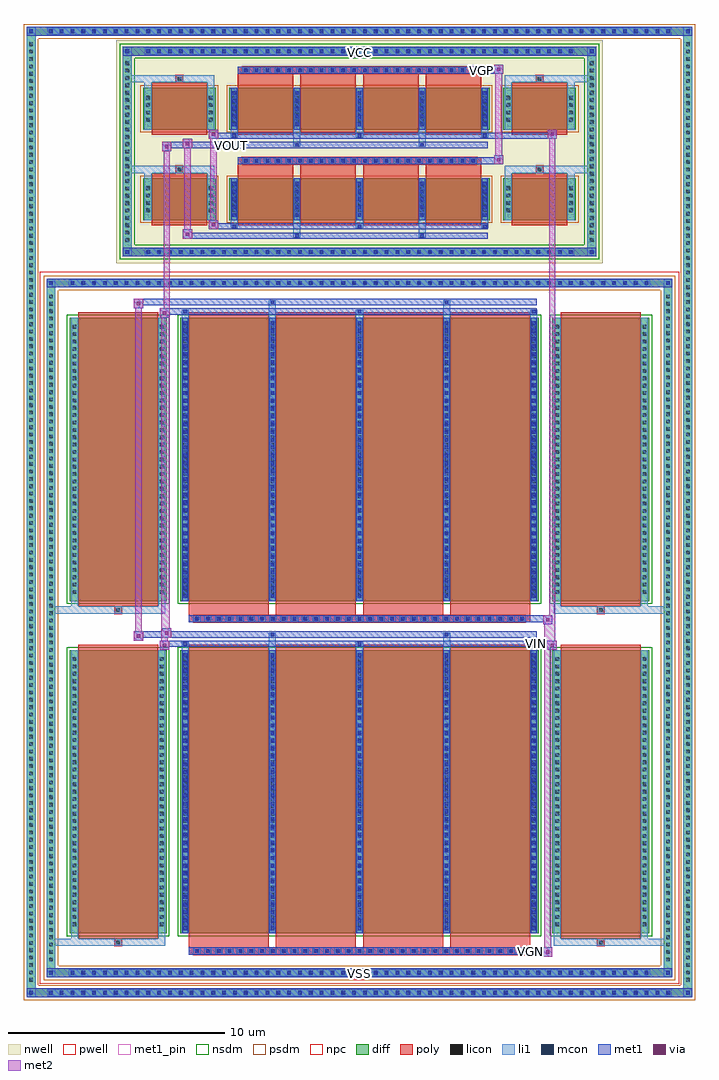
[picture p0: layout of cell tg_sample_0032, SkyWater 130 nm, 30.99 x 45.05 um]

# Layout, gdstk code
import gdstk
lib = gdstk.Library(unit=1e-6, precision=5e-09)
def R(c, l, rs):  # rectangles x0, y0, x1, y1
    for r in rs: c.add(gdstk.rectangle(r[:2], r[2:], *l))
def A(c, l, x, y, w, h, nx, ny, dx, dy):  # array of equal rectangles
    R(c, l, [(x+i*dx, y+j*dy, x+i*dx+w, y+j*dy+h) for i in range(nx) for j in range(ny)])
def P(c, l, *ps):  # polygons
    for p in ps: c.add(gdstk.Polygon(p, *l))
nwell = (64, 20)
pwell = (64, 44)
diff = (65, 20)
poly = (66, 20)
licon = (66, 44)
li1 = (67, 20)
mcon = (67, 44)
met1_pin = (68, 16)
met1 = (68, 20)
via = (68, 44)
met2 = (69, 20)
nsdm = (93, 44)
psdm = (94, 20)
npc = (95, 20)

tg_sample_0032 = lib.new_cell('tg_sample_0032')
R(tg_sample_0032, nwell, [(-11.235,16.835,11.235,27.135)])
R(tg_sample_0032, pwell, [(-14.755,-16.435,14.755,16.435)])
A(tg_sample_0032, diff, -14.455, -17.045, 0.41, 0.41, 58, 2, 0.5, 44.38)
A(tg_sample_0032, diff, -15.365, -16.445, 0.41, 0.41, 1, 128, 0, 0.34)
A(tg_sample_0032, diff, 14.955, -16.445, 0.41, 0.41, 1, 128, 0, 0.34)
A(tg_sample_0032, diff, -13.455, -16.125, 0.41, 0.41, 54, 2, 0.5, 31.84)
A(tg_sample_0032, diff, -14.445, -15.505, 0.41, 0.41, 1, 91, 0, 0.34)
A(tg_sample_0032, diff, 14.035, -15.505, 0.41, 0.41, 1, 91, 0, 0.34)
A(tg_sample_0032, diff, -9.955, 17.145, 0.41, 0.41, 40, 2, 0.5, 9.27)
A(tg_sample_0032, diff, -10.925, 17.7, 0.41, 0.41, 1, 25, 0, 0.34)
A(tg_sample_0032, diff, 10.515, 17.7, 0.41, 0.41, 1, 25, 0, 0.34)
R(tg_sample_0032, diff, [(-14.455,-17.045,14.455,-16.635), (-15.365,-16.445,-14.955,27.145), (14.955,-16.445,15.365,27.145), (-13.455,-16.125,13.455,-15.715), (-14.445,-15.505,-14.035,15.505), (14.035,-15.505,14.445,15.505), (-13.375,-14.1,-8.905,-1.02), (-8.265,-14.1,8.265,-1.02), (8.905,-14.1,13.375,-1.02), (-13.375,1.24,-8.905,14.32), (-8.265,1.24,8.265,14.32), (8.905,1.24,13.375,14.32), (-13.455,15.715,13.455,16.125), (-9.955,17.145,9.955,17.555), (-10.925,17.7,-10.515,26.27), (10.515,17.7,10.925,26.27), (-9.985,18.825,-6.645,20.745), (-6.005,18.825,6.005,20.745), (6.645,18.825,9.985,20.745), (-9.985,23.005,-6.645,24.925), (-6.005,23.005,6.005,24.925), (6.645,23.005,9.985,24.925), (-9.955,26.415,9.955,26.825), (-14.455,27.335,14.455,27.745)])
P(tg_sample_0032, diff, [(14.445,16.125),(-14.445,16.125),(-14.445,-15.715),(-14.035,-15.715),(-14.035,15.715),(14.035,15.715),(14.035,-15.715),(-14.035,-15.715),(-14.445,-15.715),(-14.445,-16.125),(14.445,-16.125)],
  [(15.365,27.745),(-15.365,27.745),(-15.365,-16.635),(-14.955,-16.635),(-14.955,27.335),(14.955,27.335),(14.955,-16.635),(-14.955,-16.635),(-15.365,-16.635),(-15.365,-17.045),(15.365,-17.045)],
  [(10.925,17.145),(-10.925,17.145),(-10.925,26.415),(-10.515,26.415),(-10.515,17.555),(10.515,17.555),(10.515,26.415),(-10.515,26.415),(-10.925,26.415),(-10.925,26.825),(10.925,26.825)])
A(tg_sample_0032, poly, -7.665, -15.08, 0.33, 0.33, 31, 2, 0.5, 15.34)
A(tg_sample_0032, poly, -7.875, -14.75, 3.69, 0.4, 4, 2, 4.02, 15.34)
A(tg_sample_0032, poly, -7.875, -14.35, 3.69, 13.58, 4, 2, 4.02, 15.34)
A(tg_sample_0032, poly, -5.615, 18.575, 2.56, 2.42, 4, 2, 2.89, 4.18)
A(tg_sample_0032, poly, -5.615, 20.995, 2.56, 0.4, 4, 2, 2.89, 4.18)
A(tg_sample_0032, poly, -5.415, 21.395, 0.33, 0.33, 22, 2, 0.5, 4.18)
R(tg_sample_0032, poly, [(-7.875,-15.08,7.875,-14.75), (-11.305,-14.68,-10.975,-14.35), (-11.305,-14.68,-10.975,-14.35), (10.975,-14.68,11.305,-14.35), (10.975,-14.68,11.305,-14.35), (-12.985,-14.35,-9.295,-0.77), (9.295,-14.35,12.985,-0.77), (-7.875,0.26,7.875,0.59), (-11.305,0.66,-10.975,0.99), (-11.305,0.66,-10.975,0.99), (10.975,0.66,11.305,0.99), (10.975,0.66,11.305,0.99), (-12.985,0.99,-9.295,14.57), (9.295,0.99,12.985,14.57), (-9.595,18.575,-7.035,20.995), (7.035,18.575,9.595,20.995), (-8.48,20.995,-8.15,21.325), (-8.48,20.995,-8.15,21.325), (8.15,20.995,8.48,21.325), (8.15,20.995,8.48,21.325), (-5.615,21.395,5.615,21.725), (-9.595,22.755,-7.035,25.175), (7.035,22.755,9.595,25.175), (-8.48,25.175,-8.15,25.505), (-8.48,25.175,-8.15,25.505), (8.15,25.175,8.48,25.505), (8.15,25.175,8.48,25.505), (-5.615,25.575,5.615,25.905)])
A(tg_sample_0032, licon, -14.335, -16.925, 0.17, 0.17, 58, 2, 0.5, 44.38)
A(tg_sample_0032, licon, -15.245, -16.325, 0.17, 0.17, 1, 128, 0, 0.34)
A(tg_sample_0032, licon, 15.075, -16.325, 0.17, 0.17, 1, 128, 0, 0.34)
A(tg_sample_0032, licon, -13.335, -16.005, 0.17, 0.17, 54, 2, 0.5, 31.84)
A(tg_sample_0032, licon, -14.325, -15.385, 0.17, 0.17, 1, 91, 0, 0.34)
A(tg_sample_0032, licon, 14.155, -15.385, 0.17, 0.17, 1, 91, 0, 0.34)
A(tg_sample_0032, licon, -7.585, -15, 0.17, 0.17, 31, 2, 0.5, 15.34)
A(tg_sample_0032, licon, -13.235, -13.765, 0.17, 0.17, 1, 37, 0, 0.34)
A(tg_sample_0032, licon, -9.215, -13.765, 0.17, 0.17, 1, 37, 0, 0.34)
A(tg_sample_0032, licon, -8.125, -13.765, 0.17, 0.17, 5, 37, 4.02, 0.34)
A(tg_sample_0032, licon, 9.045, -13.765, 0.17, 0.17, 1, 37, 0, 0.34)
A(tg_sample_0032, licon, 13.065, -13.765, 0.17, 0.17, 1, 37, 0, 0.34)
A(tg_sample_0032, licon, -13.235, 1.575, 0.17, 0.17, 1, 37, 0, 0.34)
A(tg_sample_0032, licon, -9.215, 1.575, 0.17, 0.17, 1, 37, 0, 0.34)
A(tg_sample_0032, licon, -8.125, 1.575, 0.17, 0.17, 5, 37, 4.02, 0.34)
A(tg_sample_0032, licon, 9.045, 1.575, 0.17, 0.17, 1, 37, 0, 0.34)
A(tg_sample_0032, licon, 13.065, 1.575, 0.17, 0.17, 1, 37, 0, 0.34)
A(tg_sample_0032, licon, -9.835, 17.265, 0.17, 0.17, 40, 2, 0.5, 9.27)
A(tg_sample_0032, licon, -10.805, 17.82, 0.17, 0.17, 1, 25, 0, 0.34)
A(tg_sample_0032, licon, 10.635, 17.82, 0.17, 0.17, 1, 25, 0, 0.34)
A(tg_sample_0032, licon, -9.845, 19.19, 0.17, 0.17, 1, 4, 0, 0.34)
A(tg_sample_0032, licon, -6.955, 19.19, 0.17, 0.17, 1, 4, 0, 0.34)
A(tg_sample_0032, licon, -5.865, 19.19, 0.17, 0.17, 5, 4, 2.89, 0.34)
A(tg_sample_0032, licon, 6.785, 19.19, 0.17, 0.17, 1, 4, 0, 0.34)
A(tg_sample_0032, licon, 9.675, 19.19, 0.17, 0.17, 1, 4, 0, 0.34)
A(tg_sample_0032, licon, -5.335, 21.475, 0.17, 0.17, 22, 2, 0.5, 4.18)
A(tg_sample_0032, licon, -9.845, 23.37, 0.17, 0.17, 1, 4, 0, 0.34)
A(tg_sample_0032, licon, -6.955, 23.37, 0.17, 0.17, 1, 4, 0, 0.34)
A(tg_sample_0032, licon, -5.865, 23.37, 0.17, 0.17, 5, 4, 2.89, 0.34)
A(tg_sample_0032, licon, 6.785, 23.37, 0.17, 0.17, 1, 4, 0, 0.34)
A(tg_sample_0032, licon, 9.675, 23.37, 0.17, 0.17, 1, 4, 0, 0.34)
R(tg_sample_0032, licon, [(-11.225,-14.6,-11.055,-14.43), (11.055,-14.6,11.225,-14.43), (-11.225,0.74,-11.055,0.91), (11.055,0.74,11.225,0.91), (-8.4,21.075,-8.23,21.245), (8.23,21.075,8.4,21.245), (-8.4,25.255,-8.23,25.425), (8.23,25.255,8.4,25.425)])
A(tg_sample_0032, li1, -14.415, -17.005, 0.33, 0.33, 58, 2, 0.5, 44.38)
A(tg_sample_0032, li1, -15.325, -16.405, 0.33, 0.33, 1, 128, 0, 0.34)
A(tg_sample_0032, li1, 14.995, -16.405, 0.33, 0.33, 1, 128, 0, 0.34)
A(tg_sample_0032, li1, -13.415, -16.085, 0.33, 0.33, 54, 2, 0.5, 31.84)
A(tg_sample_0032, li1, -14.405, -15.465, 0.33, 0.33, 1, 91, 0, 0.34)
A(tg_sample_0032, li1, 14.075, -15.465, 0.33, 0.33, 1, 91, 0, 0.34)
A(tg_sample_0032, li1, -7.665, -15.08, 0.33, 0.33, 31, 2, 0.5, 15.34)
A(tg_sample_0032, li1, -8.205, -14.1, 0.33, 13.08, 5, 2, 4.02, 15.34)
A(tg_sample_0032, li1, -8.125, -13.945, 0.17, 0.17, 5, 36, 4.02, 0.36)
A(tg_sample_0032, li1, -8.125, -13.945, 0.17, 12.77, 5, 2, 4.02, 15.34)
A(tg_sample_0032, li1, -13.315, -13.845, 0.33, 0.33, 1, 37, 0, 0.34)
A(tg_sample_0032, li1, -9.295, -13.845, 0.33, 0.33, 1, 37, 0, 0.34)
A(tg_sample_0032, li1, -8.205, -13.845, 0.33, 0.33, 5, 37, 4.02, 0.34)
A(tg_sample_0032, li1, 8.965, -13.845, 0.33, 0.33, 1, 37, 0, 0.34)
A(tg_sample_0032, li1, 12.985, -13.845, 0.33, 0.33, 1, 37, 0, 0.34)
A(tg_sample_0032, li1, -8.205, -1.02, 0.33, 0.375, 3, 2, 8.04, 15.34)
A(tg_sample_0032, li1, -8.125, -0.815, 0.17, 0.17, 3, 2, 8.04, 15.34)
A(tg_sample_0032, li1, -8.125, 1.395, 0.17, 0.17, 5, 36, 4.02, 0.36)
A(tg_sample_0032, li1, -13.315, 1.495, 0.33, 0.33, 1, 37, 0, 0.34)
A(tg_sample_0032, li1, -9.295, 1.495, 0.33, 0.33, 1, 37, 0, 0.34)
A(tg_sample_0032, li1, -8.205, 1.495, 0.33, 0.33, 5, 37, 4.02, 0.34)
A(tg_sample_0032, li1, 8.965, 1.495, 0.33, 0.33, 1, 37, 0, 0.34)
A(tg_sample_0032, li1, 12.985, 1.495, 0.33, 0.33, 1, 37, 0, 0.34)
A(tg_sample_0032, li1, -9.915, 17.185, 0.33, 0.33, 40, 2, 0.5, 9.27)
A(tg_sample_0032, li1, -10.885, 17.74, 0.33, 0.33, 1, 25, 0, 0.34)
A(tg_sample_0032, li1, 10.555, 17.74, 0.33, 0.33, 1, 25, 0, 0.34)
A(tg_sample_0032, li1, -5.945, 18.45, 0.33, 0.375, 3, 2, 5.78, 4.18)
A(tg_sample_0032, li1, -5.865, 18.45, 0.17, 0.17, 3, 2, 5.78, 4.18)
A(tg_sample_0032, li1, -5.945, 18.825, 0.33, 1.92, 5, 2, 2.89, 4.18)
A(tg_sample_0032, li1, -5.865, 18.98, 0.17, 0.17, 5, 5, 2.89, 0.36)
A(tg_sample_0032, li1, -5.865, 18.98, 0.17, 1.61, 5, 2, 2.89, 4.18)
A(tg_sample_0032, li1, -9.925, 19.11, 0.33, 0.33, 1, 4, 0, 0.34)
A(tg_sample_0032, li1, -7.035, 19.11, 0.33, 0.33, 1, 4, 0, 0.34)
A(tg_sample_0032, li1, -5.945, 19.11, 0.33, 0.33, 5, 4, 2.89, 0.34)
A(tg_sample_0032, li1, 6.705, 19.11, 0.33, 0.33, 1, 4, 0, 0.34)
A(tg_sample_0032, li1, 9.595, 19.11, 0.33, 0.33, 1, 4, 0, 0.34)
A(tg_sample_0032, li1, -5.415, 21.395, 0.33, 0.33, 22, 2, 0.5, 4.18)
A(tg_sample_0032, li1, -5.865, 23.16, 0.17, 0.17, 5, 5, 2.89, 0.36)
A(tg_sample_0032, li1, -9.925, 23.29, 0.33, 0.33, 1, 4, 0, 0.34)
A(tg_sample_0032, li1, -7.035, 23.29, 0.33, 0.33, 1, 4, 0, 0.34)
A(tg_sample_0032, li1, -5.945, 23.29, 0.33, 0.33, 5, 4, 2.89, 0.34)
A(tg_sample_0032, li1, 6.705, 23.29, 0.33, 0.33, 1, 4, 0, 0.34)
A(tg_sample_0032, li1, 9.595, 23.29, 0.33, 0.33, 1, 4, 0, 0.34)
R(tg_sample_0032, li1, [(-15.365,-17.045,-14.955,-16.635), (14.955,-17.045,15.365,-16.635), (-14.415,-17.005,14.415,-16.675), (-15.245,-16.925,-15.075,-16.755), (-15.245,-16.925,-15.075,-16.755), (15.075,-16.925,15.245,-16.755), (15.075,-16.925,15.245,-16.755), (-15.365,-16.635,-14.955,27.335), (14.955,-16.635,15.365,27.335), (-14.445,-16.125,-14.035,-15.715), (14.035,-16.125,14.445,-15.715), (-13.415,-16.085,13.415,-15.755), (-14.325,-16.005,-14.155,-15.835), (-14.325,-16.005,-14.155,-15.835), (14.155,-16.005,14.325,-15.835), (14.155,-16.005,14.325,-15.835), (-14.445,-15.715,-14.035,15.715), (14.035,-15.715,14.445,15.715), (-14.445,-14.68,-11.305,-14.35), (-13.315,-14.68,-11.305,-14.35), (-13.315,-14.68,-12.985,-14.1), (-11.305,-14.68,-10.975,-14.35), (-10.975,-14.68,-8.965,-14.35), (-9.295,-14.68,-8.965,-14.1), (8.965,-14.68,10.975,-14.35), (8.965,-14.68,9.295,-14.1), (10.975,-14.68,11.305,-14.35), (10.975,-14.68,14.445,-14.35), (11.305,-14.68,13.315,-14.35), (12.985,-14.68,13.315,-14.1), (-13.315,-14.1,-12.985,-1.02), (-9.295,-14.1,-8.965,-1.02), (8.965,-14.1,9.295,-1.02), (12.985,-14.1,13.315,-1.02), (-4.185,-1.02,-3.855,-0.215), (3.855,-1.02,4.185,-0.215), (-4.105,-0.385,-3.935,-0.215), (3.935,-0.385,4.105,-0.215), (-14.445,0.66,-11.305,0.99), (-13.315,0.66,-11.305,0.99), (-13.315,0.66,-12.985,1.24), (-11.305,0.66,-10.975,0.99), (-10.975,0.66,-8.965,0.99), (-9.295,0.66,-8.965,1.24), (8.965,0.66,10.975,0.99), (8.965,0.66,9.295,1.24), (10.975,0.66,11.305,0.99), (10.975,0.66,14.445,0.99), (11.305,0.66,13.315,0.99), (12.985,0.66,13.315,1.24), (-13.315,1.24,-12.985,14.32), (-9.295,1.24,-8.965,14.32), (8.965,1.24,9.295,14.32), (12.985,1.24,13.315,14.32), (-4.185,14.32,-3.855,15.125), (3.855,14.32,4.185,15.125), (-4.105,14.955,-3.935,15.125), (3.935,14.955,4.105,15.125), (-14.445,15.715,-14.035,16.125), (14.035,15.715,14.445,16.125), (-13.415,15.755,13.415,16.085), (-14.325,15.835,-14.155,16.005), (-14.325,15.835,-14.155,16.005), (14.155,15.835,14.325,16.005), (14.155,15.835,14.325,16.005), (-10.925,17.145,-10.515,17.555), (10.515,17.145,10.925,17.555), (-9.915,17.185,9.915,17.515), (-10.805,17.265,-10.635,17.435), (-10.805,17.265,-10.635,17.435), (10.635,17.265,10.805,17.435), (10.635,17.265,10.805,17.435), (-10.925,17.555,-10.515,26.415), (10.515,17.555,10.925,26.415), (-3.055,18.02,-2.725,18.825), (-2.975,18.02,-2.805,18.19), (2.725,18.02,3.055,18.825), (2.805,18.02,2.975,18.19), (-9.925,18.825,-9.595,20.745), (-7.035,18.825,-6.705,20.745), (6.705,18.825,7.035,20.745), (9.595,18.825,9.925,20.745), (-9.925,20.745,-9.595,21.325), (-7.035,20.745,-6.705,21.325), (6.705,20.745,7.035,21.325), (9.595,20.745,9.925,21.325), (-10.925,20.995,-8.48,21.325), (-9.925,20.995,-8.48,21.325), (-8.48,20.995,-8.15,21.325), (-8.15,20.995,-6.705,21.325), (6.705,20.995,8.15,21.325), (8.15,20.995,8.48,21.325), (8.15,20.995,10.925,21.325), (8.48,20.995,9.925,21.325), (-3.055,22.2,-2.725,23.005), (-2.975,22.2,-2.805,22.37), (2.725,22.2,3.055,23.005), (2.805,22.2,2.975,22.37), (-9.925,23.005,-9.595,24.925), (-7.035,23.005,-6.705,24.925), (6.705,23.005,7.035,24.925), (9.595,23.005,9.925,24.925), (-9.925,24.925,-9.595,25.505), (-7.035,24.925,-6.705,25.505), (6.705,24.925,7.035,25.505), (9.595,24.925,9.925,25.505), (-10.925,25.175,-8.48,25.505), (-9.925,25.175,-8.48,25.505), (-8.48,25.175,-8.15,25.505), (-8.15,25.175,-6.705,25.505), (6.705,25.175,8.15,25.505), (8.15,25.175,8.48,25.505), (8.15,25.175,10.925,25.505), (8.48,25.175,9.925,25.505), (-10.925,26.415,-10.515,26.825), (10.515,26.415,10.925,26.825), (-9.915,26.455,9.915,26.785), (-10.805,26.535,-10.635,26.705), (-10.805,26.535,-10.635,26.705), (10.635,26.535,10.805,26.705), (10.635,26.535,10.805,26.705), (-15.365,27.335,-14.955,27.745), (14.955,27.335,15.365,27.745), (-14.415,27.375,14.415,27.705), (-15.245,27.455,-15.075,27.625), (-15.245,27.455,-15.075,27.625), (15.075,27.455,15.245,27.625), (15.075,27.455,15.245,27.625)])
A(tg_sample_0032, mcon, -14.335, -16.925, 0.17, 0.17, 58, 2, 0.5, 44.38)
A(tg_sample_0032, mcon, -13.335, -16.005, 0.17, 0.17, 54, 2, 0.5, 31.84)
A(tg_sample_0032, mcon, -7.585, -15, 0.17, 0.17, 31, 2, 0.5, 15.34)
A(tg_sample_0032, mcon, -8.125, -13.945, 0.17, 0.17, 5, 36, 4.02, 0.36)
A(tg_sample_0032, mcon, -8.125, -0.815, 0.17, 0.17, 3, 2, 8.04, 15.34)
A(tg_sample_0032, mcon, -8.125, 1.395, 0.17, 0.17, 5, 36, 4.02, 0.36)
A(tg_sample_0032, mcon, -9.835, 17.265, 0.17, 0.17, 40, 2, 0.5, 9.27)
A(tg_sample_0032, mcon, -5.865, 18.45, 0.17, 0.17, 3, 2, 5.78, 4.18)
A(tg_sample_0032, mcon, -5.865, 18.98, 0.17, 0.17, 5, 5, 2.89, 0.36)
A(tg_sample_0032, mcon, -5.335, 21.475, 0.17, 0.17, 22, 2, 0.5, 4.18)
A(tg_sample_0032, mcon, -5.865, 23.16, 0.17, 0.17, 5, 5, 2.89, 0.36)
R(tg_sample_0032, mcon, [(-15.245,-16.925,-15.075,-16.755), (15.075,-16.925,15.245,-16.755), (-14.325,-16.005,-14.155,-15.835), (14.155,-16.005,14.325,-15.835), (-4.105,-0.385,-3.935,-0.215), (3.935,-0.385,4.105,-0.215), (-4.105,14.955,-3.935,15.125), (3.935,14.955,4.105,15.125), (-14.325,15.835,-14.155,16.005), (14.155,15.835,14.325,16.005), (-10.805,17.265,-10.635,17.435), (10.635,17.265,10.805,17.435), (-2.975,18.02,-2.805,18.19), (2.805,18.02,2.975,18.19), (-2.975,22.2,-2.805,22.37), (2.805,22.2,2.975,22.37), (-10.805,26.535,-10.635,26.705), (10.635,26.535,10.805,26.705), (-15.245,27.455,-15.075,27.625), (15.075,27.455,15.245,27.625)])
R(tg_sample_0032, met1_pin, [(-0.25,-16.215,0.25,-15.715), (7.74,-15.08,8.01,-14.81), (8.05,-0.875,8.32,-0.605), (-6.06,22.14,-5.79,22.41), (5.48,25.575,5.75,25.845), (-0.25,26.325,0.25,26.825)])
A(tg_sample_0032, met1, -14.395, -16.985, 0.29, 0.29, 58, 2, 0.5, 44.38)
A(tg_sample_0032, met1, -13.395, -16.065, 0.29, 0.29, 54, 2, 0.5, 31.84)
A(tg_sample_0032, met1, -7.645, -15.06, 0.29, 0.29, 31, 2, 0.5, 15.34)
A(tg_sample_0032, met1, -8.185, -14.1, 0.29, 13.08, 5, 2, 4.02, 15.34)
A(tg_sample_0032, met1, -8.185, -14.005, 0.29, 0.29, 5, 36, 4.02, 0.36)
A(tg_sample_0032, met1, -8.185, -0.875, 0.29, 0.29, 3, 2, 8.04, 15.34)
A(tg_sample_0032, met1, -8.185, 1.335, 0.29, 0.29, 5, 36, 4.02, 0.36)
A(tg_sample_0032, met1, -9.895, 17.205, 0.29, 0.29, 40, 2, 0.5, 9.27)
A(tg_sample_0032, met1, -5.925, 18.39, 0.29, 0.29, 3, 2, 5.78, 4.18)
A(tg_sample_0032, met1, -5.925, 18.825, 0.29, 1.92, 5, 2, 2.89, 4.18)
A(tg_sample_0032, met1, -5.925, 18.92, 0.29, 0.29, 5, 5, 2.89, 0.36)
A(tg_sample_0032, met1, -5.395, 21.415, 0.29, 0.29, 22, 2, 0.5, 4.18)
A(tg_sample_0032, met1, -5.925, 23.1, 0.29, 0.29, 5, 5, 2.89, 0.36)
R(tg_sample_0032, met1, [(-15.365,-17.045,-14.955,-16.635), (-15.365,-17.045,-14.955,-16.635), (-14.955,-17.045,14.955,-16.635), (14.955,-17.045,15.365,-16.635), (14.955,-17.045,15.365,-16.635), (-15.305,-16.985,-15.015,-16.695), (15.015,-16.985,15.305,-16.695), (-14.445,-16.125,-14.035,-15.715), (-14.445,-16.125,-14.035,-15.715), (-14.035,-16.125,14.035,-15.715), (14.035,-16.125,14.445,-15.715), (14.035,-16.125,14.445,-15.715), (-14.385,-16.065,-14.095,-15.775), (14.095,-16.065,14.385,-15.775), (8.475,-15.18,8.905,-14.75), (-7.875,-15.08,7.875,-14.75), (7.875,-15.08,8.905,-14.75), (-9.215,-1.015,-8.785,-0.585), (8.685,-1.015,9.115,-0.585), (-9.215,-0.875,-8.185,-0.585), (-8.185,-0.875,8.185,-0.585), (8.185,-0.875,9.115,-0.585), (-10.415,-0.585,-9.985,-0.155), (-10.415,-0.445,-8.185,-0.155), (-9.115,-0.445,-8.685,-0.015), (-9.115,-0.445,-8.185,-0.155), (-8.185,-0.445,8.185,-0.155), (-4.165,-0.445,-3.875,-0.155), (3.875,-0.445,4.165,-0.155), (8.475,0.16,8.905,0.59), (-7.875,0.26,7.875,0.59), (7.875,0.26,8.905,0.59), (-9.215,14.325,-8.785,14.755), (-9.215,14.465,-8.185,14.755), (-8.185,14.465,8.185,14.755), (-10.415,14.755,-9.985,15.185), (-10.415,14.895,-8.185,15.185), (-8.185,14.895,8.185,15.185), (-4.165,14.895,-3.875,15.185), (3.875,14.895,4.165,15.185), (-14.445,15.715,-14.035,16.125), (-14.445,15.715,-14.035,16.125), (-14.035,15.715,14.035,16.125), (14.035,15.715,14.445,16.125), (14.035,15.715,14.445,16.125), (-14.385,15.775,-14.095,16.065), (14.095,15.775,14.385,16.065), (-10.925,17.145,-10.515,17.555), (-10.925,17.145,-10.515,17.555), (-10.515,17.145,10.515,17.555), (10.515,17.145,10.925,17.555), (10.515,17.145,10.925,17.555), (-10.865,17.205,-10.575,17.495), (10.575,17.205,10.865,17.495), (-8.155,17.96,-7.725,18.39), (-8.155,17.96,-5.925,18.25), (-5.925,17.96,5.925,18.25), (-3.035,17.96,-2.745,18.25), (2.745,17.96,3.035,18.25), (-6.955,18.39,-6.525,18.82), (-6.955,18.39,-5.925,18.68), (-5.925,18.39,5.925,18.68), (-5.615,21.395,5.615,21.725), (5.615,21.395,6.645,21.725), (6.215,21.395,6.645,21.825), (-9.115,22,-8.685,22.43), (-9.115,22.14,-5.925,22.43), (-8.155,22.14,-7.725,22.57), (-8.155,22.14,-5.925,22.43), (-5.925,22.14,5.925,22.43), (-3.035,22.14,-2.745,22.43), (2.745,22.14,3.035,22.43), (-6.955,22.57,-6.525,23), (-6.955,22.57,-5.925,22.86), (-5.925,22.57,5.925,22.86), (5.925,22.57,9.115,22.86), (8.685,22.57,9.115,23), (-5.615,25.575,5.615,25.905), (5.615,25.575,6.645,25.905), (6.215,25.575,6.645,26.005), (-10.925,26.415,-10.515,26.825), (-10.925,26.415,-10.515,26.825), (-10.515,26.415,10.515,26.825), (10.515,26.415,10.925,26.825), (10.515,26.415,10.925,26.825), (-10.865,26.475,-10.575,26.765), (10.575,26.475,10.865,26.765), (-15.365,27.335,-14.955,27.745), (-15.365,27.335,-14.955,27.745), (-14.955,27.335,14.955,27.745), (14.955,27.335,15.365,27.745), (14.955,27.335,15.365,27.745), (-15.305,27.395,-15.015,27.685), (15.015,27.395,15.305,27.685)])
R(tg_sample_0032, via, [(8.615,-15.04,8.765,-14.89), (-9.075,-0.875,-8.925,-0.725), (8.825,-0.875,8.975,-0.725), (-10.275,-0.445,-10.125,-0.295), (-8.975,-0.305,-8.825,-0.155), (8.615,0.3,8.765,0.45), (-9.075,14.465,-8.925,14.615), (-10.275,14.895,-10.125,15.045), (-8.015,18.1,-7.865,18.25), (-6.815,18.53,-6.665,18.68), (6.355,21.535,6.505,21.685), (-8.975,22.14,-8.825,22.29), (-8.015,22.28,-7.865,22.43), (-6.815,22.71,-6.665,22.86), (8.825,22.71,8.975,22.86), (6.355,25.715,6.505,25.865)])
R(tg_sample_0032, met2, [(8.475,-15.18,8.905,-14.75), (8.525,-15.18,8.855,0.59), (8.855,-15.18,8.905,-14.75), (8.525,-15.13,8.855,-14.8), (-9.215,-1.015,-8.785,-0.585), (-9.145,-1.015,-8.855,14.755), (-8.855,-1.015,-8.785,-0.585), (8.685,-1.015,9.115,-0.585), (8.755,-1.015,9.045,23), (9.045,-1.015,9.115,-0.585), (-9.165,-0.965,-8.835,-0.635), (8.735,-0.965,9.065,-0.635), (-10.415,-0.585,-9.985,-0.155), (-10.345,-0.585,-10.055,15.185), (-10.055,-0.585,-9.985,-0.155), (-10.365,-0.535,-10.035,-0.205), (-9.115,-0.445,-8.685,-0.015), (-9.045,-0.445,-8.755,22.43), (-8.755,-0.445,-8.685,-0.015), (-9.065,-0.395,-8.735,-0.065), (8.475,0.16,8.905,0.59), (8.855,0.16,8.905,0.59), (8.525,0.21,8.855,0.54), (-9.215,14.325,-8.785,14.755), (-8.855,14.325,-8.785,14.755), (-9.165,14.375,-8.835,14.705), (-10.415,14.755,-9.985,15.185), (-10.055,14.755,-9.985,15.185), (-10.365,14.805,-10.035,15.135), (-8.155,17.96,-7.725,18.39), (-8.085,17.96,-7.795,22.57), (-7.795,17.96,-7.725,18.39), (-8.105,18.01,-7.775,18.34), (-6.955,18.39,-6.525,18.82), (-6.885,18.39,-6.595,23), (-6.595,18.39,-6.525,18.82), (-6.905,18.44,-6.575,18.77), (6.215,21.395,6.645,21.825), (6.265,21.395,6.595,26.005), (6.595,21.395,6.645,21.825), (6.265,21.445,6.595,21.775), (-9.115,22,-8.685,22.43), (-8.755,22,-8.685,22.43), (-9.065,22.05,-8.735,22.38), (-8.155,22.14,-7.725,22.57), (-7.795,22.14,-7.725,22.57), (-8.105,22.19,-7.775,22.52), (-6.955,22.57,-6.525,23), (-6.595,22.57,-6.525,23), (8.685,22.57,9.115,23), (9.045,22.57,9.115,23), (-6.905,22.62,-6.575,22.95), (8.735,22.62,9.065,22.95), (6.215,25.575,6.645,26.005), (6.595,25.575,6.645,26.005), (6.265,25.625,6.595,25.955)])
R(tg_sample_0032, nsdm, [(-13.505,-14.23,-8.775,-0.89), (-8.395,-14.23,8.395,-0.89), (8.775,-14.23,13.505,-0.89), (-13.505,1.11,-8.775,14.45), (-8.395,1.11,8.395,14.45), (8.775,1.11,13.505,14.45)])
P(tg_sample_0032, nsdm, [(11.055,17.015),(-11.055,17.015),(-11.055,26.285),(-10.385,26.285),(-10.385,17.685),(10.385,17.685),(10.385,26.285),(-10.385,26.285),(-11.055,26.285),(-11.055,26.955),(11.055,26.955)])
R(tg_sample_0032, psdm, [(-10.115,18.695,-6.515,20.875), (-6.135,18.695,6.135,20.875), (6.515,18.695,10.115,20.875), (-10.115,22.875,-6.515,25.055), (-6.135,22.875,6.135,25.055), (6.515,22.875,10.115,25.055)])
P(tg_sample_0032, psdm, [(14.575,16.255),(-14.575,16.255),(-14.575,-15.585),(-13.905,-15.585),(-13.905,15.585),(13.905,15.585),(13.905,-15.585),(-13.905,-15.585),(-14.575,-15.585),(-14.575,-16.255),(14.575,-16.255)],
  [(15.495,27.875),(-15.495,27.875),(-15.495,-16.505),(-14.825,-16.505),(-14.825,27.205),(14.825,27.205),(14.825,-16.505),(-14.825,-16.505),(-15.495,-16.505),(-15.495,-17.175),(15.495,-17.175)])
A(tg_sample_0032, npc, -7.685, -15.1, 0.37, 0.37, 31, 2, 0.5, 15.34)
A(tg_sample_0032, npc, -5.435, 21.375, 0.37, 0.37, 22, 2, 0.5, 4.18)
R(tg_sample_0032, npc, [(-7.685,-15.1,-6.815,-14.73), (-7.685,-15.1,-6.815,-14.73), (-7.185,-15.1,-6.315,-14.73), (-7.185,-15.1,-6.315,-14.73), (-6.685,-15.1,-5.815,-14.73), (-6.685,-15.1,-5.815,-14.73), (-6.185,-15.1,-5.315,-14.73), (-6.185,-15.1,-5.315,-14.73), (-5.685,-15.1,-4.815,-14.73), (-5.685,-15.1,-4.815,-14.73), (-5.185,-15.1,-4.315,-14.73), (-5.185,-15.1,-4.315,-14.73), (-4.685,-15.1,-3.815,-14.73), (-4.685,-15.1,-3.815,-14.73), (-4.185,-15.1,-3.315,-14.73), (-4.185,-15.1,-3.315,-14.73), (-3.685,-15.1,-2.815,-14.73), (-3.685,-15.1,-2.815,-14.73), (-3.185,-15.1,-2.315,-14.73), (-3.185,-15.1,-2.315,-14.73), (-2.685,-15.1,-1.815,-14.73), (-2.685,-15.1,-1.815,-14.73), (-2.185,-15.1,-1.315,-14.73), (-2.185,-15.1,-1.315,-14.73), (-1.685,-15.1,-0.815,-14.73), (-1.685,-15.1,-0.815,-14.73), (-1.185,-15.1,-0.315,-14.73), (-1.185,-15.1,-0.315,-14.73), (-0.685,-15.1,0.185,-14.73), (-0.685,-15.1,0.185,-14.73), (-0.185,-15.1,0.685,-14.73), (-0.185,-15.1,0.685,-14.73), (0.315,-15.1,1.185,-14.73), (0.315,-15.1,1.185,-14.73), (0.815,-15.1,1.685,-14.73), (0.815,-15.1,1.685,-14.73), (1.315,-15.1,2.185,-14.73), (1.315,-15.1,2.185,-14.73), (1.815,-15.1,2.685,-14.73), (1.815,-15.1,2.685,-14.73), (2.315,-15.1,3.185,-14.73), (2.315,-15.1,3.185,-14.73), (2.815,-15.1,3.685,-14.73), (2.815,-15.1,3.685,-14.73), (3.315,-15.1,4.185,-14.73), (3.315,-15.1,4.185,-14.73), (3.815,-15.1,4.685,-14.73), (3.815,-15.1,4.685,-14.73), (4.315,-15.1,5.185,-14.73), (4.315,-15.1,5.185,-14.73), (4.815,-15.1,5.685,-14.73), (4.815,-15.1,5.685,-14.73), (5.315,-15.1,6.185,-14.73), (5.315,-15.1,6.185,-14.73), (5.815,-15.1,6.685,-14.73), (5.815,-15.1,6.685,-14.73), (6.315,-15.1,7.185,-14.73), (6.315,-15.1,7.185,-14.73), (6.815,-15.1,7.685,-14.73), (6.815,-15.1,7.685,-14.73), (-11.325,-14.7,-10.955,-14.33), (10.955,-14.7,11.325,-14.33), (-7.685,0.24,-6.815,0.61), (-7.685,0.24,-6.815,0.61), (-7.185,0.24,-6.315,0.61), (-7.185,0.24,-6.315,0.61), (-6.685,0.24,-5.815,0.61), (-6.685,0.24,-5.815,0.61), (-6.185,0.24,-5.315,0.61), (-6.185,0.24,-5.315,0.61), (-5.685,0.24,-4.815,0.61), (-5.685,0.24,-4.815,0.61), (-5.185,0.24,-4.315,0.61), (-5.185,0.24,-4.315,0.61), (-4.685,0.24,-3.815,0.61), (-4.685,0.24,-3.815,0.61), (-4.185,0.24,-3.315,0.61), (-4.185,0.24,-3.315,0.61), (-3.685,0.24,-2.815,0.61), (-3.685,0.24,-2.815,0.61), (-3.185,0.24,-2.315,0.61), (-3.185,0.24,-2.315,0.61), (-2.685,0.24,-1.815,0.61), (-2.685,0.24,-1.815,0.61), (-2.185,0.24,-1.315,0.61), (-2.185,0.24,-1.315,0.61), (-1.685,0.24,-0.815,0.61), (-1.685,0.24,-0.815,0.61), (-1.185,0.24,-0.315,0.61), (-1.185,0.24,-0.315,0.61), (-0.685,0.24,0.185,0.61), (-0.685,0.24,0.185,0.61), (-0.185,0.24,0.685,0.61), (-0.185,0.24,0.685,0.61), (0.315,0.24,1.185,0.61), (0.315,0.24,1.185,0.61), (0.815,0.24,1.685,0.61), (0.815,0.24,1.685,0.61), (1.315,0.24,2.185,0.61), (1.315,0.24,2.185,0.61), (1.815,0.24,2.685,0.61), (1.815,0.24,2.685,0.61), (2.315,0.24,3.185,0.61), (2.315,0.24,3.185,0.61), (2.815,0.24,3.685,0.61), (2.815,0.24,3.685,0.61), (3.315,0.24,4.185,0.61), (3.315,0.24,4.185,0.61), (3.815,0.24,4.685,0.61), (3.815,0.24,4.685,0.61), (4.315,0.24,5.185,0.61), (4.315,0.24,5.185,0.61), (4.815,0.24,5.685,0.61), (4.815,0.24,5.685,0.61), (5.315,0.24,6.185,0.61), (5.315,0.24,6.185,0.61), (5.815,0.24,6.685,0.61), (5.815,0.24,6.685,0.61), (6.315,0.24,7.185,0.61), (6.315,0.24,7.185,0.61), (6.815,0.24,7.685,0.61), (6.815,0.24,7.685,0.61), (-11.325,0.64,-10.955,1.01), (10.955,0.64,11.325,1.01), (-8.5,20.975,-8.13,21.345), (8.13,20.975,8.5,21.345), (-5.435,21.375,-4.565,21.745), (-5.435,21.375,-4.565,21.745), (-4.935,21.375,-4.065,21.745), (-4.935,21.375,-4.065,21.745), (-4.435,21.375,-3.565,21.745), (-4.435,21.375,-3.565,21.745), (-3.935,21.375,-3.065,21.745), (-3.935,21.375,-3.065,21.745), (-3.435,21.375,-2.565,21.745), (-3.435,21.375,-2.565,21.745), (-2.935,21.375,-2.065,21.745), (-2.935,21.375,-2.065,21.745), (-2.435,21.375,-1.565,21.745), (-2.435,21.375,-1.565,21.745), (-1.935,21.375,-1.065,21.745), (-1.935,21.375,-1.065,21.745), (-1.435,21.375,-0.565,21.745), (-1.435,21.375,-0.565,21.745), (-0.935,21.375,-0.065,21.745), (-0.935,21.375,-0.065,21.745), (-0.435,21.375,0.435,21.745), (-0.435,21.375,0.435,21.745), (0.065,21.375,0.935,21.745), (0.065,21.375,0.935,21.745), (0.565,21.375,1.435,21.745), (0.565,21.375,1.435,21.745), (1.065,21.375,1.935,21.745), (1.065,21.375,1.935,21.745), (1.565,21.375,2.435,21.745), (1.565,21.375,2.435,21.745), (2.065,21.375,2.935,21.745), (2.065,21.375,2.935,21.745), (2.565,21.375,3.435,21.745), (2.565,21.375,3.435,21.745), (3.065,21.375,3.935,21.745), (3.065,21.375,3.935,21.745), (3.565,21.375,4.435,21.745), (3.565,21.375,4.435,21.745), (4.065,21.375,4.935,21.745), (4.065,21.375,4.935,21.745), (4.565,21.375,5.435,21.745), (4.565,21.375,5.435,21.745), (-8.5,25.155,-8.13,25.525), (8.13,25.155,8.5,25.525), (-5.435,25.555,-4.565,25.925), (-5.435,25.555,-4.565,25.925), (-4.935,25.555,-4.065,25.925), (-4.935,25.555,-4.065,25.925), (-4.435,25.555,-3.565,25.925), (-4.435,25.555,-3.565,25.925), (-3.935,25.555,-3.065,25.925), (-3.935,25.555,-3.065,25.925), (-3.435,25.555,-2.565,25.925), (-3.435,25.555,-2.565,25.925), (-2.935,25.555,-2.065,25.925), (-2.935,25.555,-2.065,25.925), (-2.435,25.555,-1.565,25.925), (-2.435,25.555,-1.565,25.925), (-1.935,25.555,-1.065,25.925), (-1.935,25.555,-1.065,25.925), (-1.435,25.555,-0.565,25.925), (-1.435,25.555,-0.565,25.925), (-0.935,25.555,-0.065,25.925), (-0.935,25.555,-0.065,25.925), (-0.435,25.555,0.435,25.925), (-0.435,25.555,0.435,25.925), (0.065,25.555,0.935,25.925), (0.065,25.555,0.935,25.925), (0.565,25.555,1.435,25.925), (0.565,25.555,1.435,25.925), (1.065,25.555,1.935,25.925), (1.065,25.555,1.935,25.925), (1.565,25.555,2.435,25.925), (1.565,25.555,2.435,25.925), (2.065,25.555,2.935,25.925), (2.065,25.555,2.935,25.925), (2.565,25.555,3.435,25.925), (2.565,25.555,3.435,25.925), (3.065,25.555,3.935,25.925), (3.065,25.555,3.935,25.925), (3.565,25.555,4.435,25.925), (3.565,25.555,4.435,25.925), (4.065,25.555,4.935,25.925), (4.065,25.555,4.935,25.925), (4.565,25.555,5.435,25.925), (4.565,25.555,5.435,25.925)])
tg_sample_0032.add(gdstk.Label('VIN', (8.185,-0.74), layer=68, texttype=5))
tg_sample_0032.add(gdstk.Label('VGN', (7.875,-14.945), layer=68, texttype=5))
tg_sample_0032.add(gdstk.Label('VGP', (5.615,25.71), layer=68, texttype=5))
tg_sample_0032.add(gdstk.Label('VSS', (0,-15.965), layer=68, texttype=5))
tg_sample_0032.add(gdstk.Label('VCC', (0,26.575), layer=68, texttype=5))
tg_sample_0032.add(gdstk.Label('VOUT', (-5.925,22.275), layer=68, texttype=5))

lib.write_gds('tg_sample_0032.gds')
